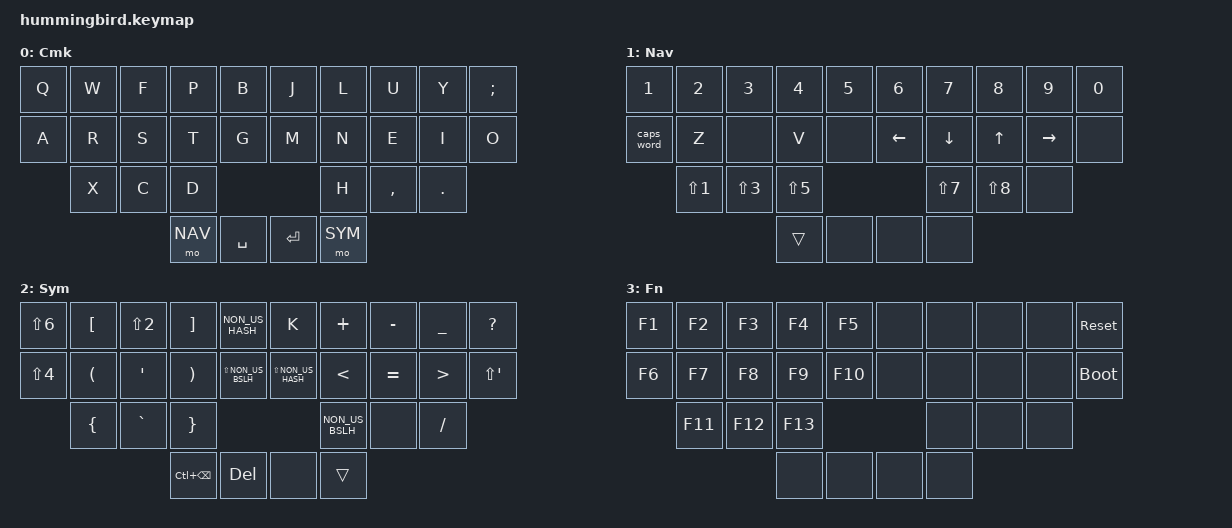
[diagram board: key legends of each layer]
/*
 * Copyright (c) 2022 The ZMK Contributors
 *
 * SPDX-License-Identifier: MIT
 */

#include <behaviors.dtsi>
#include <dt-bindings/zmk/keys.h>

#define CK 0
#define NAV 1
#define SYM 2
#define FN	3

// Using layer taps on thumbs, having quick tap as well helps w/ repeating space/backspace
// &lt { quick-tap-ms = <33200>; };

/ {
/*                KEY POSITIONS

             0   1   2   3   4      5   6   7   8   9
            10  11  12  13  14     15  16  17  18  19
                20  21  22             23  24  25
                        26  27     28  29              */

		combos {
			compatible = "zmk,combos";

			combo_shift_l {
				key-positions = <3 13>;
				bindings = <&kp LSHIFT>;
			};

			combo_shift_r {
				key-positions = <6 16>;
				bindings = <&kp LSHIFT>;
			};

			combo_ctrl_l {
				key-positions = <2 12>;
				bindings = <&kp LCTRL>;
			};

			combo_ctrl_r {
				key-positions = <7 17>;
				bindings = <&kp LCTRL>;
			};

			combo_gui_l {
				key-positions = <1 11>;
				bindings = <&kp LGUI>;
			};

			combo_gui_r {
				key-positions = <8 18>;
				bindings = <&kp LGUI>;
			};

			combo_alt_l {
				key-positions = <0 10>;
				bindings = <&kp LALT>;
			};

			combo_alt_r {
				key-positions = <9 19>;
				bindings = <&kp LALT>;
			};

			combo_bkspc {
				key-positions = <26 27>;
				bindings = <&kp BSPC>;
			};

			combo_esc {
				key-positions = <5 15>;
				bindings = <&kp ESC>;
			};

			combo_tab {
				key-positions = <4 14>;
				bindings = <&kp TAB>;
			};

			combo_tmux_prefix {
				key-positions = <28 29>;
				bindings = <&kp LC(A)>;
			};

			combo_fn {
				key-positions = <23 25>;
				bindings = <&mo FN>
			};

		};

    keymap {
        compatible = "zmk,keymap";

        default_layer {
						display-name = "Cmk";
            bindings = <
                &kp Q      &kp W      &kp F       &kp P           &kp B        &kp J            &kp L          &kp U       &kp Y      &kp SEMI
							  &kp A      &kp R      &kp S       &kp T           &kp G        &kp M            &kp N          &kp E       &kp I      &kp O 
                           &kp X      &kp C       &kp D                                         &kp H          &kp COMMA  &kp DOT
                                                  &mo NAV         &kp SPACE    &kp RET          &mo SYM
            >;
        };

        nav_layer {
            display-name = "Nav";
            bindings = <

						    &kp N1		  &kp N2		  &kp N3		  &kp N4		  &kp N5						&kp N6		 &kp	N7		&kp N8		 &kp N9		  &kp N0
					      &caps_word	&kp Z		    &none		    &kp V		    &none					    &kp LEFT	 &kp DOWN	  &kp UP		 &kp RIGHT  &none
					                  &kp LS(N1)	&kp LS(N3)	&kp LS(N5)				                       &kp LS(N7)	&kp LS(N8) &none
					                                          &trans		  &none						  &none		   &none
            >;
        };

        sym_layer {
            display-name = "Sym";
            bindings = <
					      &kp LS(N6)	&kp LBKT	&kp LS(N2)	&kp RBKT	   &kp NON_US_HASH		             &kp K	             &kp PLUS	       &kp MINUS	&kp UNDER	 &kp QMARK
					      &kp LS(N4)	&kp LPAR	&kp SQT		  &kp RPAR	   &kp LS(NON_US_BSLH)			       &kp LS(NON_US_HASH) &kp LT	         &kp EQUAL	&kp GT 	   &kp LS(SQT)
					                  &kp	LBRC	&kp GRAVE	  &kp RBRC	                                                       &kp NON_US_BSLH &none	    &kp SLASH
					                                        &kp LC(BSPC) &kp DEL						 &none		           &trans
            >;
        };

				fn_layer {
					display-name = "Fn";
					bindings = <
						&kp F1	&kp F2	&kp F3	&kp F4	&kp F5		&none &none &none &none &sys_reset
						&kp F6	&kp F7	&kp F8	&kp F9	&kp F10		&none &none &none &none &bootloader	
										&kp F11	&kp F12	&kp F13									&none	&none	&none
																		&none		&none			&none	&none
					>;
				};
    };
};
